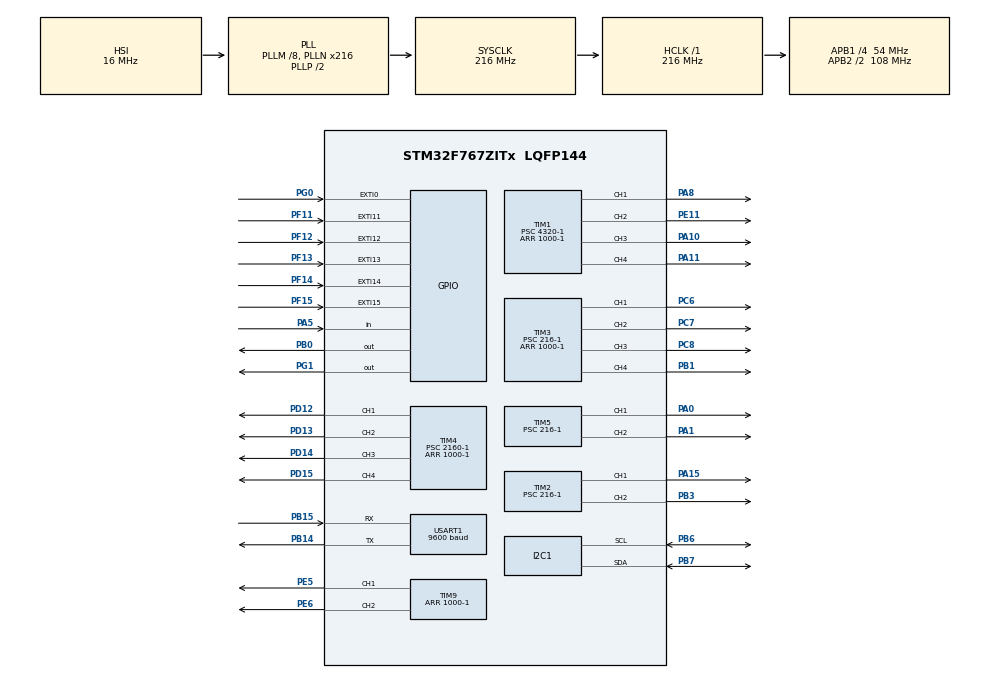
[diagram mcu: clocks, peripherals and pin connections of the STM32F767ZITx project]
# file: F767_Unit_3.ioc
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Dma.Request0=USART1_RX
Dma.USART1_RX.0.Direction=DMA_PERIPH_TO_MEMORY
Dma.USART1_RX.0.FIFOMode=DMA_FIFOMODE_DISABLE
Dma.USART1_RX.0.Instance=DMA2_Stream2
Dma.USART1_RX.0.MemDataAlignment=DMA_MDATAALIGN_BYTE
Dma.USART1_RX.0.MemInc=DMA_MINC_ENABLE
Dma.USART1_RX.0.Mode=DMA_CIRCULAR
Dma.USART1_RX.0.PeriphDataAlignment=DMA_PDATAALIGN_BYTE
Dma.USART1_RX.0.PeriphInc=DMA_PINC_DISABLE
Dma.USART1_RX.0.Priority=DMA_PRIORITY_HIGH
I2C1.Timing=0x20404768
Mcu.Family=STM32F7
Mcu.Name=STM32F767ZITx
Mcu.Package=LQFP144
NVIC.DMA2_Stream2_IRQn=true\:0\:0\:false\:false\:true\:false\:true
NVIC.EXTI0_IRQn=true\:0\:0\:false\:false\:true\:true\:true
NVIC.EXTI15_10_IRQn=true\:0\:0\:false\:false\:true\:true\:true
NVIC.PriorityGroup=NVIC_PRIORITYGROUP_4
NVIC.TIM6_DAC_IRQn=true\:0\:0\:false\:false\:true\:true\:true
NVIC.USART1_IRQn=true\:0\:0\:false\:false\:true\:true\:true
PA0/WKUP.Signal=S_TIM5_CH1
PA1.Signal=S_TIM5_CH2
PA10.Signal=S_TIM1_CH3
PA11.Signal=S_TIM1_CH4
PA15.Signal=S_TIM2_CH1_ETR
PA5.Signal=GPIO_Input
PA8.Signal=S_TIM1_CH1
PB0.Signal=GPIO_Output
PB1.Signal=S_TIM3_CH4
PB14.Mode=Asynchronous
PB14.Signal=USART1_TX
PB15.Mode=Asynchronous
PB15.Signal=USART1_RX
PB3.Signal=S_TIM2_CH2
PB6.Mode=I2C
PB6.Signal=I2C1_SCL
PB7.Mode=I2C
PB7.Signal=I2C1_SDA
PC6.Signal=S_TIM3_CH1
PC7.Signal=S_TIM3_CH2
PC8.Signal=S_TIM3_CH3
PD12.Signal=S_TIM4_CH1
PD13.Signal=S_TIM4_CH2
PD14.Signal=S_TIM4_CH3
PD15.Signal=S_TIM4_CH4
PE11.Signal=S_TIM1_CH2
PE5.Signal=S_TIM9_CH1
PE6.Signal=S_TIM9_CH2
PF11.GPIO_ModeDefaultEXTI=GPIO_MODE_IT_RISING_FALLING
PF11.Signal=GPXTI11
PF12.GPIO_ModeDefaultEXTI=GPIO_MODE_IT_RISING_FALLING
PF12.Signal=GPXTI12
PF13.GPIO_ModeDefaultEXTI=GPIO_MODE_IT_RISING_FALLING
PF13.Signal=GPXTI13
PF14.GPIO_ModeDefaultEXTI=GPIO_MODE_IT_RISING_FALLING
PF14.Signal=GPXTI14
PF15.GPIO_ModeDefaultEXTI=GPIO_MODE_IT_RISING_FALLING
PF15.Signal=GPXTI15
PG0.GPIO_ModeDefaultEXTI=GPIO_MODE_IT_RISING_FALLING
PG0.Signal=GPXTI0
PG1.Signal=GPIO_Output
ProjectManager.HeapSize=0x200
ProjectManager.StackSize=0x400
ProjectManager.TargetToolchain=STM32CubeIDE
RCC.AHBFreq_Value=216000000
RCC.APB1CLKDivider=RCC_HCLK_DIV4
RCC.APB1Freq_Value=54000000
RCC.APB1TimFreq_Value=108000000
RCC.APB2CLKDivider=RCC_HCLK_DIV2
RCC.APB2Freq_Value=108000000
RCC.APB2TimFreq_Value=216000000
RCC.CortexFreq_Value=216000000
RCC.HCLKFreq_Value=216000000
RCC.HSE_VALUE=25000000
RCC.HSI_VALUE=16000000
RCC.LSE_VALUE=32768
RCC.PLLM=8
RCC.PLLN=216
RCC.SYSCLKFreq_VALUE=216000000
RCC.SYSCLKSource=RCC_SYSCLKSOURCE_PLLCLK
RCC.USBFreq_Value=216000000
RCC.VCOOutputFreq_Value=432000000
SH.S_TIM1_CH1.0=TIM1_CH1,PWM Generation1 CH1
SH.S_TIM1_CH2.0=TIM1_CH2,PWM Generation2 CH2
SH.S_TIM1_CH3.0=TIM1_CH3,PWM Generation3 CH3
SH.S_TIM1_CH4.0=TIM1_CH4,PWM Generation4 CH4
SH.S_TIM2_CH1_ETR.0=TIM2_CH1,PWM Generation1 CH1
SH.S_TIM2_CH2.0=TIM2_CH2,PWM Generation2 CH2
SH.S_TIM3_CH1.0=TIM3_CH1,PWM Generation1 CH1
SH.S_TIM3_CH2.0=TIM3_CH2,PWM Generation2 CH2
SH.S_TIM3_CH3.0=TIM3_CH3,PWM Generation3 CH3
SH.S_TIM3_CH4.0=TIM3_CH4,PWM Generation4 CH4
SH.S_TIM4_CH1.0=TIM4_CH1,PWM Generation1 CH1
SH.S_TIM4_CH2.0=TIM4_CH2,PWM Generation2 CH2
SH.S_TIM4_CH3.0=TIM4_CH3,PWM Generation3 CH3
SH.S_TIM4_CH4.0=TIM4_CH4,PWM Generation4 CH4
SH.S_TIM5_CH1.0=TIM5_CH1,PWM Generation1 CH1
SH.S_TIM5_CH2.0=TIM5_CH2,PWM Generation2 CH2
SH.S_TIM9_CH1.0=TIM9_CH1,PWM Generation1 CH1
SH.S_TIM9_CH2.0=TIM9_CH2,PWM Generation2 CH2
TIM1.Channel-PWM\ Generation1\ CH1=TIM_CHANNEL_1
TIM1.Channel-PWM\ Generation2\ CH2=TIM_CHANNEL_2
TIM1.Channel-PWM\ Generation3\ CH3=TIM_CHANNEL_3
TIM1.Channel-PWM\ Generation4\ CH4=TIM_CHANNEL_4
TIM1.Period=1000-1
TIM1.Prescaler=4320-1
TIM2.Channel-PWM\ Generation1\ CH1=TIM_CHANNEL_1
TIM2.Channel-PWM\ Generation2\ CH2=TIM_CHANNEL_2
TIM2.Period=1000-1
TIM2.Prescaler=216-1
TIM3.Channel-PWM\ Generation1\ CH1=TIM_CHANNEL_1
TIM3.Channel-PWM\ Generation2\ CH2=TIM_CHANNEL_2
TIM3.Channel-PWM\ Generation3\ CH3=TIM_CHANNEL_3
TIM3.Channel-PWM\ Generation4\ CH4=TIM_CHANNEL_4
TIM3.Period=1000-1
TIM3.Prescaler=216-1
TIM4.Channel-PWM\ Generation1\ CH1=TIM_CHANNEL_1
TIM4.Channel-PWM\ Generation2\ CH2=TIM_CHANNEL_2
TIM4.Channel-PWM\ Generation3\ CH3=TIM_CHANNEL_3
TIM4.Channel-PWM\ Generation4\ CH4=TIM_CHANNEL_4
TIM4.Period=1000-1
TIM4.Prescaler=2160-1
TIM5.Channel-PWM\ Generation1\ CH1=TIM_CHANNEL_1
TIM5.Channel-PWM\ Generation2\ CH2=TIM_CHANNEL_2
TIM5.Period=1000-1
TIM5.Prescaler=216-1
TIM6.Period=50000-1
TIM6.Prescaler=10800-1
TIM9.Channel-PWM\ Generation1\ CH1=TIM_CHANNEL_1
TIM9.Channel-PWM\ Generation2\ CH2=TIM_CHANNEL_2
TIM9.Period=1000-1
USART1.BaudRate=9600
USART1.VirtualMode-Asynchronous=VM_ASYNC
VP_TIM1_VS_ClockSourceINT.Mode=Internal
VP_TIM2_VS_ClockSourceINT.Mode=Internal
VP_TIM3_VS_ClockSourceINT.Mode=Internal
VP_TIM4_VS_ClockSourceINT.Mode=Internal
VP_TIM5_VS_ClockSourceINT.Mode=Internal
VP_TIM6_VS_ClockSourceINT.Mode=Enable_Timer
VP_TIM9_VS_ClockSourceINT.Mode=Internal
board=custom

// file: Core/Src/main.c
/* USER CODE BEGIN Header */
/**
  ******************************************************************************
  * @file           : main.c
  * @brief          : Main program body
  ******************************************************************************
  * @attention
  *
  * <h2><center>&copy; Copyright (c) 2024 STMicroelectronics.
  * All rights reserved.</center></h2>
  *
  * This software component is licensed by ST under BSD 3-Clause license,
  * the "License"; You may not use this file except in compliance with the
  * License. You may obtain a copy of the License at:
  *                        opensource.org/licenses/BSD-3-Clause
  *
  ******************************************************************************
  */
/* USER CODE END Header */

#include "main.h"

/* USER CODE BEGIN Includes */
#include "SO1602A.h"
#include "stdio.h"
#include "stdlib.h"
#include "stdbool.h"
#include "omuni_3.h"
/* USER CODE END Includes */

I2C_HandleTypeDef hi2c1;

TIM_HandleTypeDef htim1;
TIM_HandleTypeDef htim2;
TIM_HandleTypeDef htim3;
TIM_HandleTypeDef htim4;
TIM_HandleTypeDef htim5;
TIM_HandleTypeDef htim6;
TIM_HandleTypeDef htim9;

UART_HandleTypeDef huart1;
DMA_HandleTypeDef hdma_usart1_rx;

void SystemClock_Config(void);
static void MX_GPIO_Init(void);
static void MX_DMA_Init(void);
static void MX_USART1_UART_Init(void);
static void MX_I2C1_Init(void);
static void MX_TIM3_Init(void);
static void MX_TIM4_Init(void);
static void MX_TIM5_Init(void);
static void MX_TIM2_Init(void);
static void MX_TIM1_Init(void);
static void MX_TIM9_Init(void);
static void MX_TIM6_Init(void);

/* USER CODE BEGIN 0 */
bool status_1;			//toggle switch
bool status_2;
bool SW_1 = 0;			//takuto switch
bool SW_2 = 0;
bool SW_3 = 0;
bool SW_4 = 0;
bool RST  = 0;			//reset signal

char str[5];
uint16_t speed = 650;		//normal speed
uint16_t test_speed = 0;	//test speed
float B_dash = 1;			//B_dash mode seigyo
uint8_t cnt = 0;			//kyuenbussi right or left handan

#define servo1_init  90			// 0  + 90
#define servo2_init  90			//180 - 90
#define servo3_init  270		//arm
#define servo4_init  50			//arm
#define servo5_init  0			//kyuenbussi left
#define servo6_init  135		//kyuenbussi right
//#define servo7_init  90
//#define servo8_init  180
#define servo5_open  55
#define servo6_open  50

uint16_t servo1_kakudo = servo1_init * 4;
uint16_t servo2_kakudo = servo2_init * 4;
uint16_t servo3_kakudo = servo3_init * 4;
uint16_t servo4_kakudo = servo4_init * 4;

#define Servo_low 25			// ds3218 , FS5115M			0.5ms - 2.5ms , 50 [Hz] * 0.5
#define Servo_high 125			// 50 [Hz] * 2.5
#define servo_low 28			// futaba rs304 md
#define servo_high 124

void HAL_GPIO_EXTI_Callback(uint16_t GPIO_Pin){
	if(GPIO_Pin == GPIO_PIN_0){
		if(HAL_GPIO_ReadPin(GPIOG,GPIO_PIN_0) == 1){
			status_1 = 0;
		}else{
			status_1 = 1;
		}
	}else if(GPIO_Pin == GPIO_PIN_12){
		if(HAL_GPIO_ReadPin(GPIOF,GPIO_PIN_12) == 1){
			status_2 = 0;
		}else {
			status_2 = 1;
		}
	}else if(GPIO_Pin == GPIO_PIN_11){
		if(HAL_GPIO_ReadPin(GPIOF,GPIO_PIN_11) == 1){
			SW_1 = 1;
		}else {
			SW_1 = 0;
		}
	}else if(GPIO_Pin == GPIO_PIN_13){
		if(HAL_GPIO_ReadPin(GPIOF,GPIO_PIN_13) == 1){
			SW_2 = 1;
		}else {
			SW_2 = 0;
		}
	}else if(GPIO_Pin == GPIO_PIN_14){
		if(HAL_GPIO_ReadPin(GPIOF,GPIO_PIN_14) == 1){
			SW_3 = 1;
		}else {
			SW_3 = 0;
		}
	}else if(GPIO_Pin == GPIO_PIN_15){
		if(HAL_GPIO_ReadPin(GPIOF,GPIO_PIN_15) == 1){
			SW_4 = 1;
		}else {
			SW_4 = 0;
		}
	}

}

void motor_4(uint16_t ina , uint16_t inb){
	__HAL_TIM_SET_COMPARE(&htim2,TIM_CHANNEL_1,inb);
	__HAL_TIM_SET_COMPARE(&htim2,TIM_CHANNEL_2,ina);
}
/*
void motor_5(uint16_t ina , uint16_t inb){
	__HAL_TIM_SET_COMPARE(&htim9,TIM_CHANNEL_1,ina);
	__HAL_TIM_SET_COMPARE(&htim9,TIM_CHANNEL_2,inb);
}
*/

long map(float x , float in_min , float in_max , float out_min , float out_max)
{
	  return (x - in_min) * (out_max - out_min) / (in_max - in_min) + out_min;
}

void servo_1(uint16_t pulse){
	int pulse_1 = map(pulse , 0 , 180 , Servo_low , Servo_high);
	__HAL_TIM_SET_COMPARE(&htim4,TIM_CHANNEL_1,pulse_1);
}
void servo_2(uint16_t pulse){
	int pulse_1 = map(pulse , 0 , 180 , Servo_low , Servo_high);
	__HAL_TIM_SET_COMPARE(&htim4,TIM_CHANNEL_2,pulse_1);
}
void servo_3(uint16_t pulse){
	int pulse_1 = map(pulse , 0 , 270 , Servo_low , Servo_high);
	__HAL_TIM_SET_COMPARE(&htim4,TIM_CHANNEL_3,pulse_1);
}
void servo_4(uint16_t pulse){
	int pulse_1 = map(pulse , 0 , 270 , Servo_low , Servo_high);
	__HAL_TIM_SET_COMPARE(&htim4,TIM_CHANNEL_4,pulse_1);
}

void servo_5(uint16_t pulse){
	int pulse_1 = map(pulse , 0 , 180 , Servo_low , Servo_high);
	__HAL_TIM_SET_COMPARE(&htim1,TIM_CHANNEL_1,pulse_1);
}

void servo_6(uint16_t pulse){
	int pulse_1 = map(pulse , 0 , 270 , Servo_low , Servo_high);
	__HAL_TIM_SET_COMPARE(&htim1,TIM_CHANNEL_2,pulse_1);
}
/*
void servo_7(uint16_t pulse){
	int pulse_1 = map(pulse , 0 , 180 , Servo_low , Servo_high);
	__HAL_TIM_SET_COMPARE(&htim1,TIM_CHANNEL_3,pulse_1);
}

void servo_8(uint16_t pulse){
	long pulse_1 = map(pulse , 0 , 180 , Servo_low , Servo_high);
	__HAL_TIM_SET_COMPARE(&htim1,TIM_CHANNEL_4,pulse_1);
}
*/

void servo_init(){
  servo_1(servo1_init);			//servo init
  servo_2(servo2_init);
  servo_3(servo3_init);
  servo_4(servo4_init);
  servo_5(servo5_init);
  servo_6(servo6_init);
  //servo_7(servo7_init);
  //servo_8(servo8_init);
}

/* USER CODE END 0 */

int main(void)
{

  /* MCU Configuration--------------------------------------------------------*/

  /* Reset of all peripherals, Initializes the Flash interface and the Systick. */
  HAL_Init();

  /* Configure the system clock */
  SystemClock_Config();

  /* Initialize all configured peripherals */
  MX_GPIO_Init();
  MX_DMA_Init();
  MX_USART1_UART_Init();
  MX_I2C1_Init();
  MX_TIM3_Init();
  MX_TIM4_Init();
  MX_TIM5_Init();
  MX_TIM2_Init();
  MX_TIM1_Init();
  MX_TIM9_Init();
  MX_TIM6_Init();
  /* USER CODE BEGIN 2 */

  HAL_UART_Receive_DMA(&huart1,(uint8_t *)rxbuf,1);

  HAL_TIM_PWM_Start(&htim2,TIM_CHANNEL_1);		//dc
  HAL_TIM_PWM_Start(&htim2,TIM_CHANNEL_2);
  //HAL_TIM_PWM_Start(&htim2,TIM_CHANNEL_3);
  //HAL_TIM_PWM_Start(&htim2,TIM_CHANNEL_4);
  HAL_TIM_PWM_Start(&htim3,TIM_CHANNEL_1);
  HAL_TIM_PWM_Start(&htim3,TIM_CHANNEL_2);
  HAL_TIM_PWM_Start(&htim3,TIM_CHANNEL_3);
  HAL_TIM_PWM_Start(&htim3,TIM_CHANNEL_4);
  HAL_TIM_PWM_Start(&htim5,TIM_CHANNEL_1);
  HAL_TIM_PWM_Start(&htim5,TIM_CHANNEL_2);
  HAL_TIM_PWM_Start(&htim9,TIM_CHANNEL_1);
  HAL_TIM_PWM_Start(&htim9,TIM_CHANNEL_2);

  HAL_TIM_PWM_Start(&htim4,TIM_CHANNEL_1);		//servo
  HAL_TIM_PWM_Start(&htim4,TIM_CHANNEL_2);
  HAL_TIM_PWM_Start(&htim4,TIM_CHANNEL_3);
  HAL_TIM_PWM_Start(&htim4,TIM_CHANNEL_4);
  HAL_TIM_PWM_Start(&htim1,TIM_CHANNEL_1);
  HAL_TIM_PWM_Start(&htim1,TIM_CHANNEL_2);
  HAL_TIM_PWM_Start(&htim1,TIM_CHANNEL_3);
  HAL_TIM_PWM_Start(&htim1,TIM_CHANNEL_4);

  oled_Init(&hi2c1);
  OLED_Init();
  set_cursor(1,0);
  Puts("status:");
  set_cursor(2,0);
  Puts("waiting command");

  HAL_GPIO_WritePin(GPIOG,GPIO_PIN_1,SET);		//dc enable

  HAL_GPIO_WritePin(GPIOB,GPIO_PIN_0,SET);
  HAL_Delay(1000);
  HAL_GPIO_WritePin(GPIOB,GPIO_PIN_0,RESET);

  servo_5(servo5_open);
  servo_6(servo6_open);
  HAL_Delay(8000);
  servo_init();
  //HAL_TIM_Base_Start(&htim6);
  /* USER CODE END 2 */

  /* Infinite loop */
  /* USER CODE BEGIN WHILE */
  while (1)
  {
	  if(status_1 == 1){
		  //speed = atoi(&rxbuf[1]);		//convert strings to number
		  //sprintf(aiueo,"%d",speed);

		  OLED_Init();
		  set_cursor(1,0);
		  Puts("status:uart mode");
		  set_cursor(2,0);
		  Puts("Received:");
		  set_cursor(2,10);
		  Puts(&rxbuf[0]);

		  if(rxbuf[0] < 95){
			  B_dash = 1.5;
		  }else{
			  B_dash = 1;
		  }

		  if(rxbuf[0] == 'k'){
		  	  omuni(0,0);			//stop
		  	  motor_4(0,0);
		  	  //motor_5(0,0);

	  	  }else if(rxbuf[0] == 'j' || rxbuf[0] == 'J'){
			  omuni(6,speed * B_dash * 0.7);			//turn left

		  }else if(rxbuf[0] == 'i' || rxbuf[0] == 'I'){
			  omuni(5,speed * B_dash * 0.7);			//turn right

		  }else if(rxbuf[0] == 'c' || rxbuf[0] == 'C'){
			  omuni(1,speed * B_dash);			// forward

		  }else if(rxbuf[0] == 'g' || rxbuf[0] == 'G'){
			  omuni(2,speed * B_dash);			// back

		  }else if(rxbuf[0] == 'a' || rxbuf[0] == 'A'){
			  omuni(3,speed * B_dash);	//shift to right

		  }else if(rxbuf[0] == 'e' || rxbuf[0] == 'E'){
			  omuni(4,speed * B_dash);	//shift to left

		  }else if(rxbuf[0] == 'n'){
			  motor_4(999,0);			//arm up
		  }else if(rxbuf[0] == 'o'){
			  motor_4(0,999);			//arm down

		  }else if(rxbuf[0] == 'p'){
			  for(;servo1_kakudo < 360 ; servo1_kakudo++){		//right arm tojiru
				  servo_1(servo1_kakudo / 4);
				  HAL_Delay(5);
				  if(rxbuf[0] == 'k'){
					  break;
				  }
			  }

		  }else if(rxbuf[0] == 'q'){
			  for(;servo1_kakudo > 0 ; servo1_kakudo--){		//right arm hiraku
				  servo_1(servo1_kakudo / 4);
				  HAL_Delay(5);
				  if(rxbuf[0] == 'k'){
					  break;
				  }
			  }
		  }else if(rxbuf[0] == 'r'){
			  for(;servo2_kakudo < 720 ; servo2_kakudo++){		//left arm hiraku
				  servo_2(servo2_kakudo / 4);
				  HAL_Delay(5);
				  if(rxbuf[0] == 'k'){
					  break;
				  }
			  }
		  }else if(rxbuf[0] == 's'){
			  for(;servo2_kakudo > 360 ; servo2_kakudo--){		//left arm tojiru
				  servo_2(servo2_kakudo / 4);
				  HAL_Delay(5);
				  if(rxbuf[0] == 'k'){
					  break;
				  }
			  }
	  	  }else if(rxbuf[0] == 'u'){
			  for(;servo3_kakudo < 1080 ; servo3_kakudo++){
				  servo_3(servo3_kakudo / 4);
				  servo_4((int)map(servo3_kakudo , 360 ,1080 , 920 , 200) / 4);
				  HAL_Delay(8);
				  if(rxbuf[0] == 'k'){
					  break;
				  }
			  }
	  	  }else if(rxbuf[0] == 't'){
			  for(;servo3_kakudo > 360 ; servo3_kakudo--){
				  servo_3(servo3_kakudo / 4);
				  servo_4((int)map(servo3_kakudo , 360 , 1080 , 920 , 200) / 4);
				  HAL_Delay(8);
				  if(rxbuf[0] == 'k'){
					  break;
				  }
			  }
		  }else if(rxbuf[0] == 'v'){
			  servo_init();
			  servo1_kakudo = servo1_init * 4;
			  servo2_kakudo = servo2_init * 4;
			  servo3_kakudo = servo3_init * 4;
			  servo4_kakudo = servo4_init * 4;

		  }else if(rxbuf[0] == 'x'){		//open
			  for(;servo1_kakudo > 0 ; servo1_kakudo--){
				  servo_1(servo1_kakudo / 4);
				  servo_2((int)map(servo1_kakudo , 0 , 360 , 720 , 360) / 4);
				  HAL_Delay(8);
				  if(rxbuf[0] == 'k'){
					  break;
				  }
			  }

		  }else if(rxbuf[0] == 'w'){		//close
			  for(;servo1_kakudo < 360 ; servo1_kakudo++){
				  servo_1(servo1_kakudo / 4);
				  servo_2((int)map(servo1_kakudo , 0 , 360 , 720 , 360) / 4);
				  HAL_Delay(8);
				  if(rxbuf[0] == 'k'){
					  break;
				  }
			  }

		  }else if(rxbuf[0] == '5' && cnt % 2 == 0){
			  servo_5(servo5_open);
			  HAL_Delay(1000);

			  cnt++;

		  }else if(rxbuf[0] == '5' && cnt % 2 == 1){
			  servo_6(servo6_open);
			  HAL_Delay(1000);

			  cnt++;
		  }
	  }else if(status_2 == 1){
		  sprintf(str,"%d",test_speed);

		  OLED_Init();
		  set_cursor(1,0);
		  Puts("speed setting");
		  set_cursor(2,0);
		  Puts("speed =");
		  set_cursor(2,8);
		  Puts(str);

		  if(SW_1 == 1){
			  test_speed += 50;
		  }else if(SW_2 == 1){
			  test_speed -= 50;
		  }else if(SW_3 == 1){
			  motor_4(test_speed , 0);
		  }else if(SW_4 == 1){
			  motor_4(0,test_speed);
		  }

	  }else if(SW_1 == 1){
		  OLED_Init();
		  set_cursor(1,0);
		  Puts("test mode");
		  set_cursor(2,0);
		  Puts("forward");

		  omuni(1,test_speed);
	  }else if(SW_2 == 1){
		  OLED_Init();
  		  set_cursor(1,0);
  		  Puts("test mode");
  		  set_cursor(2,0);
  		  Puts("back");

  		  omuni(2,test_speed);
	  }else if(SW_3 == 1){
		  OLED_Init();
		  set_cursor(1,0);
		  Puts("tamiya seiten");

		  servo_5(servo5_open);
		  HAL_Delay(1000);

		  //motor_5(800,0);
	  }else if(SW_4 == 1){
		  OLED_Init();
		  set_cursor(1,0);
		  Puts("tamiya gyakuten");

		  servo_6(servo6_open);
		  HAL_Delay(1000);

		  //motor_5(0,800);
	  }else if(status_1 + status_2 == 0){
		  OLED_Init();
		  set_cursor(1,0);
		  Puts("waiting ...");
		  set_cursor(2,0);
		  Puts("select mode");

		  omuni(0,0);
		  motor_4(0,0);
		  //motor_5(0,0);

	  }

	  HAL_Delay(5);

    /* USER CODE END WHILE */

  }
}

void SystemClock_Config(void)
{
  RCC_OscInitTypeDef RCC_OscInitStruct = {0};
  RCC_ClkInitTypeDef RCC_ClkInitStruct = {0};
  RCC_PeriphCLKInitTypeDef PeriphClkInitStruct = {0};

  /** Configure the main internal regulator output voltage
  */
  __HAL_RCC_PWR_CLK_ENABLE();
  __HAL_PWR_VOLTAGESCALING_CONFIG(PWR_REGULATOR_VOLTAGE_SCALE1);
  /** Initializes the CPU, AHB and APB busses clocks
  */
  RCC_OscInitStruct.OscillatorType = RCC_OSCILLATORTYPE_HSI;
  RCC_OscInitStruct.HSIState = RCC_HSI_ON;
  RCC_OscInitStruct.HSICalibrationValue = RCC_HSICALIBRATION_DEFAULT;
  RCC_OscInitStruct.PLL.PLLState = RCC_PLL_ON;
  RCC_OscInitStruct.PLL.PLLSource = RCC_PLLSOURCE_HSI;
  RCC_OscInitStruct.PLL.PLLM = 8;
  RCC_OscInitStruct.PLL.PLLN = 216;
  RCC_OscInitStruct.PLL.PLLP = RCC_PLLP_DIV2;
  RCC_OscInitStruct.PLL.PLLQ = 2;
  if (HAL_RCC_OscConfig(&RCC_OscInitStruct) != HAL_OK)
  {
    Error_Handler();
  }
  /** Activate the Over-Drive mode
  */
  if (HAL_PWREx_EnableOverDrive() != HAL_OK)
  {
    Error_Handler();
  }
  /** Initializes the CPU, AHB and APB busses clocks
  */
  RCC_ClkInitStruct.ClockType = RCC_CLOCKTYPE_HCLK|RCC_CLOCKTYPE_SYSCLK
                              |RCC_CLOCKTYPE_PCLK1|RCC_CLOCKTYPE_PCLK2;
  RCC_ClkInitStruct.SYSCLKSource = RCC_SYSCLKSOURCE_PLLCLK;
  RCC_ClkInitStruct.AHBCLKDivider = RCC_SYSCLK_DIV1;
  RCC_ClkInitStruct.APB1CLKDivider = RCC_HCLK_DIV4;
  RCC_ClkInitStruct.APB2CLKDivider = RCC_HCLK_DIV2;

  if (HAL_RCC_ClockConfig(&RCC_ClkInitStruct, FLASH_LATENCY_7) != HAL_OK)
  {
    Error_Handler();
  }
  PeriphClkInitStruct.PeriphClockSelection = RCC_PERIPHCLK_USART1|RCC_PERIPHCLK_I2C1;
  PeriphClkInitStruct.Usart1ClockSelection = RCC_USART1CLKSOURCE_PCLK2;
  PeriphClkInitStruct.I2c1ClockSelection = RCC_I2C1CLKSOURCE_PCLK1;
  if (HAL_RCCEx_PeriphCLKConfig(&PeriphClkInitStruct) != HAL_OK)
  {
    Error_Handler();
  }
}

static void MX_I2C1_Init(void)
{

  hi2c1.Instance = I2C1;
  hi2c1.Init.Timing = 0x20404768;
  hi2c1.Init.OwnAddress1 = 0;
  hi2c1.Init.AddressingMode = I2C_ADDRESSINGMODE_7BIT;
  hi2c1.Init.DualAddressMode = I2C_DUALADDRESS_DISABLE;
  hi2c1.Init.OwnAddress2 = 0;
  hi2c1.Init.OwnAddress2Masks = I2C_OA2_NOMASK;
  hi2c1.Init.GeneralCallMode = I2C_GENERALCALL_DISABLE;
  hi2c1.Init.NoStretchMode = I2C_NOSTRETCH_DISABLE;
  if (HAL_I2C_Init(&hi2c1) != HAL_OK)
  {
    Error_Handler();
  }
  /** Configure Analogue filter
  */
  if (HAL_I2CEx_ConfigAnalogFilter(&hi2c1, I2C_ANALOGFILTER_ENABLE) != HAL_OK)
  {
    Error_Handler();
  }
  /** Configure Digital filter
  */
  if (HAL_I2CEx_ConfigDigitalFilter(&hi2c1, 0) != HAL_OK)
  {
    Error_Handler();
  }

}

static void MX_TIM1_Init(void)
{

  TIM_ClockConfigTypeDef sClockSourceConfig = {0};
  TIM_MasterConfigTypeDef sMasterConfig = {0};
  TIM_OC_InitTypeDef sConfigOC = {0};
  TIM_BreakDeadTimeConfigTypeDef sBreakDeadTimeConfig = {0};

  htim1.Instance = TIM1;
  htim1.Init.Prescaler = 4320-1;
  htim1.Init.CounterMode = TIM_COUNTERMODE_UP;
  htim1.Init.Period = 1000-1;
  htim1.Init.ClockDivision = TIM_CLOCKDIVISION_DIV1;
  htim1.Init.RepetitionCounter = 0;
  htim1.Init.AutoReloadPreload = TIM_AUTORELOAD_PRELOAD_DISABLE;
  if (HAL_TIM_Base_Init(&htim1) != HAL_OK)
  {
    Error_Handler();
  }
  sClockSourceConfig.ClockSource = TIM_CLOCKSOURCE_INTERNAL;
  if (HAL_TIM_ConfigClockSource(&htim1, &sClockSourceConfig) != HAL_OK)
  {
    Error_Handler();
  }
  if (HAL_TIM_PWM_Init(&htim1) != HAL_OK)
  {
    Error_Handler();
  }
  sMasterConfig.MasterOutputTrigger = TIM_TRGO_RESET;
  sMasterConfig.MasterOutputTrigger2 = TIM_TRGO2_RESET;
  sMasterConfig.MasterSlaveMode = TIM_MASTERSLAVEMODE_DISABLE;
  if (HAL_TIMEx_MasterConfigSynchronization(&htim1, &sMasterConfig) != HAL_OK)
  {
    Error_Handler();
  }
  sConfigOC.OCMode = TIM_OCMODE_PWM1;
  sConfigOC.Pulse = 0;
  sConfigOC.OCPolarity = TIM_OCPOLARITY_HIGH;
  sConfigOC.OCNPolarity = TIM_OCNPOLARITY_HIGH;
  sConfigOC.OCFastMode = TIM_OCFAST_DISABLE;
  sConfigOC.OCIdleState = TIM_OCIDLESTATE_RESET;
  sConfigOC.OCNIdleState = TIM_OCNIDLESTATE_RESET;
  if (HAL_TIM_PWM_ConfigChannel(&htim1, &sConfigOC, TIM_CHANNEL_1) != HAL_OK)
  {
    Error_Handler();
  }
  if (HAL_TIM_PWM_ConfigChannel(&htim1, &sConfigOC, TIM_CHANNEL_2) != HAL_OK)
  {
    Error_Handler();
  }
  if (HAL_TIM_PWM_ConfigChannel(&htim1, &sConfigOC, TIM_CHANNEL_3) != HAL_OK)
  {
    Error_Handler();
  }
  if (HAL_TIM_PWM_ConfigChannel(&htim1, &sConfigOC, TIM_CHANNEL_4) != HAL_OK)
  {
    Error_Handler();
  }
  sBreakDeadTimeConfig.OffStateRunMode = TIM_OSSR_DISABLE;
  sBreakDeadTimeConfig.OffStateIDLEMode = TIM_OSSI_DISABLE;
  sBreakDeadTimeConfig.LockLevel = TIM_LOCKLEVEL_OFF;
  sBreakDeadTimeConfig.DeadTime = 0;
  sBreakDeadTimeConfig.BreakState = TIM_BREAK_DISABLE;
  sBreakDeadTimeConfig.BreakPolarity = TIM_BREAKPOLARITY_HIGH;
  sBreakDeadTimeConfig.BreakFilter = 0;
  sBreakDeadTimeConfig.Break2State = TIM_BREAK2_DISABLE;
  sBreakDeadTimeConfig.Break2Polarity = TIM_BREAK2POLARITY_HIGH;
  sBreakDeadTimeConfig.Break2Filter = 0;
  sBreakDeadTimeConfig.AutomaticOutput = TIM_AUTOMATICOUTPUT_DISABLE;
  if (HAL_TIMEx_ConfigBreakDeadTime(&htim1, &sBreakDeadTimeConfig) != HAL_OK)
  {
    Error_Handler();
  }
  HAL_TIM_MspPostInit(&htim1);

}

static void MX_TIM2_Init(void)
{

  TIM_ClockConfigTypeDef sClockSourceConfig = {0};
  TIM_MasterConfigTypeDef sMasterConfig = {0};
  TIM_OC_InitTypeDef sConfigOC = {0};

  htim2.Instance = TIM2;
  htim2.Init.Prescaler = 216-1;
  htim2.Init.CounterMode = TIM_COUNTERMODE_UP;
  htim2.Init.Period = 1000-1;
  htim2.Init.ClockDivision = TIM_CLOCKDIVISION_DIV1;
  htim2.Init.AutoReloadPreload = TIM_AUTORELOAD_PRELOAD_DISABLE;
  if (HAL_TIM_Base_Init(&htim2) != HAL_OK)
  {
    Error_Handler();
  }
  sClockSourceConfig.ClockSource = TIM_CLOCKSOURCE_INTERNAL;
  if (HAL_TIM_ConfigClockSource(&htim2, &sClockSourceConfig) != HAL_OK)
  {
    Error_Handler();
  }
  if (HAL_TIM_PWM_Init(&htim2) != HAL_OK)
  {
    Error_Handler();
  }
  sMasterConfig.MasterOutputTrigger = TIM_TRGO_RESET;
  sMasterConfig.MasterSlaveMode = TIM_MASTERSLAVEMODE_DISABLE;
  if (HAL_TIMEx_MasterConfigSynchronization(&htim2, &sMasterConfig) != HAL_OK)
  {
    Error_Handler();
  }
  sConfigOC.OCMode = TIM_OCMODE_PWM1;
  sConfigOC.Pulse = 0;
  sConfigOC.OCPolarity = TIM_OCPOLARITY_HIGH;
  sConfigOC.OCFastMode = TIM_OCFAST_DISABLE;
  if (HAL_TIM_PWM_ConfigChannel(&htim2, &sConfigOC, TIM_CHANNEL_1) != HAL_OK)
  {
    Error_Handler();
  }
  if (HAL_TIM_PWM_ConfigChannel(&htim2, &sConfigOC, TIM_CHANNEL_2) != HAL_OK)
  {
    Error_Handler();
  }
  HAL_TIM_MspPostInit(&htim2);

}

static void MX_TIM3_Init(void)
{

  TIM_ClockConfigTypeDef sClockSourceConfig = {0};
  TIM_MasterConfigTypeDef sMasterConfig = {0};
  TIM_OC_InitTypeDef sConfigOC = {0};

  htim3.Instance = TIM3;
  htim3.Init.Prescaler = 216-1;
  htim3.Init.CounterMode = TIM_COUNTERMODE_UP;
  htim3.Init.Period = 1000-1;
  htim3.Init.ClockDivision = TIM_CLOCKDIVISION_DIV1;
  htim3.Init.AutoReloadPreload = TIM_AUTORELOAD_PRELOAD_DISABLE;
  if (HAL_TIM_Base_Init(&htim3) != HAL_OK)
  {
    Error_Handler();
  }
  sClockSourceConfig.ClockSource = TIM_CLOCKSOURCE_INTERNAL;
  if (HAL_TIM_ConfigClockSource(&htim3, &sClockSourceConfig) != HAL_OK)
  {
    Error_Handler();
  }
  if (HAL_TIM_PWM_Init(&htim3) != HAL_OK)
  {
    Error_Handler();
  }
  sMasterConfig.MasterOutputTrigger = TIM_TRGO_RESET;
  sMasterConfig.MasterSlaveMode = TIM_MASTERSLAVEMODE_DISABLE;
  if (HAL_TIMEx_MasterConfigSynchronization(&htim3, &sMasterConfig) != HAL_OK)
  {
    Error_Handler();
  }
  sConfigOC.OCMode = TIM_OCMODE_PWM1;
  sConfigOC.Pulse = 0;
  sConfigOC.OCPolarity = TIM_OCPOLARITY_HIGH;
  sConfigOC.OCFastMode = TIM_OCFAST_DISABLE;
  if (HAL_TIM_PWM_ConfigChannel(&htim3, &sConfigOC, TIM_CHANNEL_1) != HAL_OK)
  {
    Error_Handler();
  }
  if (HAL_TIM_PWM_ConfigChannel(&htim3, &sConfigOC, TIM_CHANNEL_2) != HAL_OK)
  {
    Error_Handler();
  }
  if (HAL_TIM_PWM_ConfigChannel(&htim3, &sConfigOC, TIM_CHANNEL_3) != HAL_OK)
  {
    Error_Handler();
  }
  if (HAL_TIM_PWM_ConfigChannel(&htim3, &sConfigOC, TIM_CHANNEL_4) != HAL_OK)
  {
    Error_Handler();
  }
  HAL_TIM_MspPostInit(&htim3);

}

static void MX_TIM4_Init(void)
{

  TIM_ClockConfigTypeDef sClockSourceConfig = {0};
  TIM_MasterConfigTypeDef sMasterConfig = {0};
  TIM_OC_InitTypeDef sConfigOC = {0};

  htim4.Instance = TIM4;
  htim4.Init.Prescaler = 2160-1;
  htim4.Init.CounterMode = TIM_COUNTERMODE_UP;
  htim4.Init.Period = 1000-1;
  htim4.Init.ClockDivision = TIM_CLOCKDIVISION_DIV1;
  htim4.Init.AutoReloadPreload = TIM_AUTORELOAD_PRELOAD_DISABLE;
  if (HAL_TIM_Base_Init(&htim4) != HAL_OK)
  {
    Error_Handler();
  }
  sClockSourceConfig.ClockSource = TIM_CLOCKSOURCE_INTERNAL;
  if (HAL_TIM_ConfigClockSource(&htim4, &sClockSourceConfig) != HAL_OK)
  {
    Error_Handler();
  }
  if (HAL_TIM_PWM_Init(&htim4) != HAL_OK)
  {
    Error_Handler();
  }
  sMasterConfig.MasterOutputTrigger = TIM_TRGO_RESET;
  sMasterConfig.MasterSlaveMode = TIM_MASTERSLAVEMODE_DISABLE;
  if (HAL_TIMEx_MasterConfigSynchronization(&htim4, &sMasterConfig) != HAL_OK)
  {
    Error_Handler();
  }
  sConfigOC.OCMode = TIM_OCMODE_PWM1;
  sConfigOC.Pulse = 0;
  sConfigOC.OCPolarity = TIM_OCPOLARITY_HIGH;
  sConfigOC.OCFastMode = TIM_OCFAST_DISABLE;
  if (HAL_TIM_PWM_ConfigChannel(&htim4, &sConfigOC, TIM_CHANNEL_1) != HAL_OK)
  {
    Error_Handler();
  }
  if (HAL_TIM_PWM_ConfigChannel(&htim4, &sConfigOC, TIM_CHANNEL_2) != HAL_OK)
  {
    Error_Handler();
  }
  if (HAL_TIM_PWM_ConfigChannel(&htim4, &sConfigOC, TIM_CHANNEL_3) != HAL_OK)
  {
    Error_Handler();
  }
  if (HAL_TIM_PWM_ConfigChannel(&htim4, &sConfigOC, TIM_CHANNEL_4) != HAL_OK)
  {
    Error_Handler();
  }
  HAL_TIM_MspPostInit(&htim4);

}

static void MX_TIM5_Init(void)
{

  TIM_ClockConfigTypeDef sClockSourceConfig = {0};
  TIM_MasterConfigTypeDef sMasterConfig = {0};
  TIM_OC_InitTypeDef sConfigOC = {0};

  htim5.Instance = TIM5;
  htim5.Init.Prescaler = 216-1;
  htim5.Init.CounterMode = TIM_COUNTERMODE_UP;
  htim5.Init.Period = 1000-1;
  htim5.Init.ClockDivision = TIM_CLOCKDIVISION_DIV1;
  htim5.Init.AutoReloadPreload = TIM_AUTORELOAD_PRELOAD_DISABLE;
  if (HAL_TIM_Base_Init(&htim5) != HAL_OK)
  {
    Error_Handler();
  }
  sClockSourceConfig.ClockSource = TIM_CLOCKSOURCE_INTERNAL;
  if (HAL_TIM_ConfigClockSource(&htim5, &sClockSourceConfig) != HAL_OK)
  {
    Error_Handler();
  }
  if (HAL_TIM_PWM_Init(&htim5) != HAL_OK)
  {
    Error_Handler();
  }
  sMasterConfig.MasterOutputTrigger = TIM_TRGO_RESET;
  sMasterConfig.MasterSlaveMode = TIM_MASTERSLAVEMODE_DISABLE;
  if (HAL_TIMEx_MasterConfigSynchronization(&htim5, &sMasterConfig) != HAL_OK)
  {
    Error_Handler();
  }
  sConfigOC.OCMode = TIM_OCMODE_PWM1;
  sConfigOC.Pulse = 0;
  sConfigOC.OCPolarity = TIM_OCPOLARITY_HIGH;
  sConfigOC.OCFastMode = TIM_OCFAST_DISABLE;
  if (HAL_TIM_PWM_ConfigChannel(&htim5, &sConfigOC, TIM_CHANNEL_1) != HAL_OK)
  {
    Error_Handler();
  }
  if (HAL_TIM_PWM_ConfigChannel(&htim5, &sConfigOC, TIM_CHANNEL_2) != HAL_OK)
  {
    Error_Handler();
  }
  HAL_TIM_MspPostInit(&htim5);

}

static void MX_TIM6_Init(void)
{

  TIM_MasterConfigTypeDef sMasterConfig = {0};

  htim6.Instance = TIM6;
  htim6.Init.Prescaler = 10800-1;
  htim6.Init.CounterMode = TIM_COUNTERMODE_UP;
  htim6.Init.Period = 50000-1;
  htim6.Init.AutoReloadPreload = TIM_AUTORELOAD_PRELOAD_DISABLE;
  if (HAL_TIM_Base_Init(&htim6) != HAL_OK)
  {
    Error_Handler();
  }
  sMasterConfig.MasterOutputTrigger = TIM_TRGO_RESET;
  sMasterConfig.MasterSlaveMode = TIM_MASTERSLAVEMODE_DISABLE;
  if (HAL_TIMEx_MasterConfigSynchronization(&htim6, &sMasterConfig) != HAL_OK)
  {
    Error_Handler();
  }

}

static void MX_TIM9_Init(void)
{

  TIM_ClockConfigTypeDef sClockSourceConfig = {0};
  TIM_OC_InitTypeDef sConfigOC = {0};

  htim9.Instance = TIM9;
  htim9.Init.Prescaler = 0;
  htim9.Init.CounterMode = TIM_COUNTERMODE_UP;
  htim9.Init.Period = 1000-1;
  htim9.Init.ClockDivision = TIM_CLOCKDIVISION_DIV1;
  htim9.Init.AutoReloadPreload = TIM_AUTORELOAD_PRELOAD_DISABLE;
  if (HAL_TIM_Base_Init(&htim9) != HAL_OK)
  {
    Error_Handler();
  }
  sClockSourceConfig.ClockSource = TIM_CLOCKSOURCE_INTERNAL;
  if (HAL_TIM_ConfigClockSource(&htim9, &sClockSourceConfig) != HAL_OK)
  {
    Error_Handler();
  }
  if (HAL_TIM_PWM_Init(&htim9) != HAL_OK)
  {
    Error_Handler();
  }
  sConfigOC.OCMode = TIM_OCMODE_PWM1;
  sConfigOC.Pulse = 0;
  sConfigOC.OCPolarity = TIM_OCPOLARITY_HIGH;
  sConfigOC.OCFastMode = TIM_OCFAST_DISABLE;
  if (HAL_TIM_PWM_ConfigChannel(&htim9, &sConfigOC, TIM_CHANNEL_1) != HAL_OK)
  {
    Error_Handler();
  }
  if (HAL_TIM_PWM_ConfigChannel(&htim9, &sConfigOC, TIM_CHANNEL_2) != HAL_OK)
  {
    Error_Handler();
  }
  HAL_TIM_MspPostInit(&htim9);

}

static void MX_USART1_UART_Init(void)
{

  huart1.Instance = USART1;
  huart1.Init.BaudRate = 9600;
  huart1.Init.WordLength = UART_WORDLENGTH_8B;
  huart1.Init.StopBits = UART_STOPBITS_1;
  huart1.Init.Parity = UART_PARITY_NONE;
  huart1.Init.Mode = UART_MODE_TX_RX;
  huart1.Init.HwFlowCtl = UART_HWCONTROL_NONE;
  huart1.Init.OverSampling = UART_OVERSAMPLING_16;
  huart1.Init.OneBitSampling = UART_ONE_BIT_SAMPLE_DISABLE;
  huart1.AdvancedInit.AdvFeatureInit = UART_ADVFEATURE_NO_INIT;
  if (HAL_UART_Init(&huart1) != HAL_OK)
  {
    Error_Handler();
  }

}

static void MX_DMA_Init(void)
{

  /* DMA controller clock enable */
  __HAL_RCC_DMA2_CLK_ENABLE();

  /* DMA interrupt init */
  /* DMA2_Stream2_IRQn interrupt configuration */
  HAL_NVIC_SetPriority(DMA2_Stream2_IRQn, 0, 0);
  HAL_NVIC_EnableIRQ(DMA2_Stream2_IRQn);

}

static void MX_GPIO_Init(void)
{
  GPIO_InitTypeDef GPIO_InitStruct = {0};

  /* GPIO Ports Clock Enable */
  __HAL_RCC_GPIOE_CLK_ENABLE();
  __HAL_RCC_GPIOA_CLK_ENABLE();
  __HAL_RCC_GPIOB_CLK_ENABLE();
  __HAL_RCC_GPIOF_CLK_ENABLE();
  __HAL_RCC_GPIOG_CLK_ENABLE();
  __HAL_RCC_GPIOD_CLK_ENABLE();
  __HAL_RCC_GPIOC_CLK_ENABLE();

  /*Configure GPIO pin Output Level */
  HAL_GPIO_WritePin(GPIOB, GPIO_PIN_0, GPIO_PIN_RESET);

  /*Configure GPIO pin Output Level */
  HAL_GPIO_WritePin(GPIOG, GPIO_PIN_1, GPIO_PIN_RESET);

  /*Configure GPIO pin : PA5 */
  GPIO_InitStruct.Pin = GPIO_PIN_5;
  GPIO_InitStruct.Mode = GPIO_MODE_INPUT;
  GPIO_InitStruct.Pull = GPIO_NOPULL;
  HAL_GPIO_Init(GPIOA, &GPIO_InitStruct);

  /*Configure GPIO pin : PB0 */
  GPIO_InitStruct.Pin = GPIO_PIN_0;
  GPIO_InitStruct.Mode = GPIO_MODE_OUTPUT_PP;
  GPIO_InitStruct.Pull = GPIO_NOPULL;
  GPIO_InitStruct.Speed = GPIO_SPEED_FREQ_LOW;
  HAL_GPIO_Init(GPIOB, &GPIO_InitStruct);

  /*Configure GPIO pins : PF11 PF12 PF13 PF14
                           PF15 */
  GPIO_InitStruct.Pin = GPIO_PIN_11|GPIO_PIN_12|GPIO_PIN_13|GPIO_PIN_14
                          |GPIO_PIN_15;
  GPIO_InitStruct.Mode = GPIO_MODE_IT_RISING_FALLING;
  GPIO_InitStruct.Pull = GPIO_NOPULL;
  HAL_GPIO_Init(GPIOF, &GPIO_InitStruct);

  /*Configure GPIO pin : PG0 */
  GPIO_InitStruct.Pin = GPIO_PIN_0;
  GPIO_InitStruct.Mode = GPIO_MODE_IT_RISING_FALLING;
  GPIO_InitStruct.Pull = GPIO_NOPULL;
  HAL_GPIO_Init(GPIOG, &GPIO_InitStruct);

  /*Configure GPIO pin : PG1 */
  GPIO_InitStruct.Pin = GPIO_PIN_1;
  GPIO_InitStruct.Mode = GPIO_MODE_OUTPUT_PP;
  GPIO_InitStruct.Pull = GPIO_NOPULL;
  GPIO_InitStruct.Speed = GPIO_SPEED_FREQ_LOW;
  HAL_GPIO_Init(GPIOG, &GPIO_InitStruct);

  /* EXTI interrupt init*/
  HAL_NVIC_SetPriority(EXTI0_IRQn, 0, 0);
  HAL_NVIC_EnableIRQ(EXTI0_IRQn);

  HAL_NVIC_SetPriority(EXTI15_10_IRQn, 0, 0);
  HAL_NVIC_EnableIRQ(EXTI15_10_IRQn);

}

void Error_Handler(void)
{
}

/************************ (C) COPYRIGHT STMicroelectronics *****END OF FILE****/
